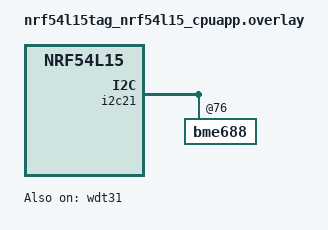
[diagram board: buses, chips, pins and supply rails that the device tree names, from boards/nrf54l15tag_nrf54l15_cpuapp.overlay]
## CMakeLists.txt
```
cmake_minimum_required(VERSION 3.20.0)

set(CMAKE_EXPORT_COMPILE_COMMANDS ON)

find_package(Zephyr HINTS $ENV{ZEPHYR_BASE})

project(blackout)

include(${ZEPHYR_CONNECTEDHOMEIP_MODULE_DIR}/config/nrfconnect/app/enable-gnu-std.cmake)

include(${ZEPHYR_NRF_MODULE_DIR}/samples/matter/common/cmake/source_common.cmake)

include(${ZEPHYR_NRF_MODULE_DIR}/samples/matter/common/cmake/data_model.cmake)

include(${ZEPHYR_NRF_MODULE_DIR}/samples/matter/common/cmake/zap_helpers.cmake)
ncs_get_zap_parent_dir(ZAP_PARENT_DIR)

target_include_directories(app PRIVATE
  src
  ${ZAP_PARENT_DIR}
)

target_sources(app PRIVATE
  src/app_task.cpp
  src/main.cpp
  src/zcl_callbacks.cpp
)

ncs_configure_data_model()
```

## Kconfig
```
mainmenu "Blackout Blinds Application"

choice OPENTHREAD_NORDIC_LIBRARY_CONFIGURATION
	default OPENTHREAD_NORDIC_LIBRARY_MTD
endchoice

choice OPENTHREAD_DEVICE_TYPE
	default OPENTHREAD_MTD
endchoice

config CHIP_ENABLE_ICD_SUPPORT
	default y

config CHIP_ICD_LIT_SUPPORT
	default y

config CHIP_ICD_SIT_SLOW_POLL_LIMIT
	default 5000

config CHIP_ICD_REPORT_ON_ACTIVE_MODE
	default y

# Reduce Thread TX output power to 0 dBm for SED device
config OPENTHREAD_DEFAULT_TX_POWER
	default 0

source "$(ZEPHYR_CONNECTEDHOMEIP_MODULE_DIR)/config/nrfconnect/chip-module/Kconfig.features"
source "$(ZEPHYR_CONNECTEDHOMEIP_MODULE_DIR)/config/nrfconnect/chip-module/Kconfig.defaults"
source "$(ZEPHYR_NRF_MODULE_DIR)/samples/matter/common/src/Kconfig"
source "Kconfig.zephyr"
```

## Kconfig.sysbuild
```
config NRF_DEFAULT_IPC_RADIO
	default y

config NETCORE_IPC_RADIO_IEEE802154
	default y if SOC_SERIES_NRF53

config NETCORE_IPC_RADIO_BT_HCI_IPC
	default y if SOC_SERIES_NRF53

choice BOOTLOADER
	default BOOTLOADER_MCUBOOT
endchoice

if BOOTLOADER_MCUBOOT

config DFU_MULTI_IMAGE_PACKAGE_BUILD
	default y

config DFU_MULTI_IMAGE_PACKAGE_APP
	default y

config PM_EXTERNAL_FLASH_MCUBOOT_SECONDARY
	default y

if SOC_SERIES_NRF53

config MCUBOOT_UPDATEABLE_IMAGES
	default 2

choice MCUBOOT_MODE
	default MCUBOOT_MODE_OVERWRITE_ONLY
endchoice

choice BOOT_SIGNATURE_TYPE
	default BOOT_SIGNATURE_TYPE_RSA
endchoice

config SECURE_BOOT_NETCORE
	default y

config NETCORE_APP_UPDATE
	default y

config DFU_MULTI_IMAGE_PACKAGE_NET
	default y

endif

if BOARD_NRF54L15DK || BOARD_NRF54LM20DK

config PM_OVERRIDE_EXTERNAL_DRIVER_CHECK
	default y

endif

if BOARD_NRF54L15TAG

config PM_OVERRIDE_EXTERNAL_DRIVER_CHECK
	default y

choice MCUBOOT_MODE
	default MCUBOOT_MODE_OVERWRITE_ONLY
endchoice

config MCUBOOT_COMPRESSED_IMAGE_SUPPORT
	default y

endif

endif

config MATTER_FACTORY_DATA_GENERATE
	default y

source "share/sysbuild/Kconfig"
```

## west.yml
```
manifest:
  self:
    path: application
  remotes:
    - name: nrf
      url-base: https://github.com/nrfconnect
  projects:
    - name: sdk-nrf
      remote: nrf
      path: nrf
      revision: v3.3.0
      import:
        path-prefix: external
      clone-depth: 1
```

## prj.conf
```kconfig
CONFIG_CHIP=y
CONFIG_CHIP_PROJECT_CONFIG="src/chip_project_config.h"
CONFIG_CHIP_DEVICE_PRODUCT_NAME="Blackout Blinds"

CONFIG_NCS_SAMPLE_MATTER_ZAP_FILE_PATH="${APPLICATION_CONFIG_DIR}/src/zap/blackout_blinds.zap"

CONFIG_CHIP_DEVICE_PRODUCT_ID=32781
CONFIG_STD_CPP17=y

CONFIG_CHIP_ENABLE_PAIRING_AUTOSTART=y

CONFIG_CHIP_BLE_EXT_ADVERTISING=y
CONFIG_CHIP_BLE_ADVERTISING_DURATION=60

CONFIG_DK_LIBRARY=y

CONFIG_BT_DEVICE_NAME="Blackout Blinds"
CONFIG_BT_DEVICE_NAME_MAX=18

CONFIG_PM_DEVICE=y

CONFIG_THREAD_NAME=y
CONFIG_MPU_STACK_GUARD=y
CONFIG_RESET_ON_FATAL_ERROR=n
CONFIG_CHIP_LIB_SHELL=y

CONFIG_USE_SEGGER_RTT=n

CONFIG_CHIP_FACTORY_DATA=y
CONFIG_CHIP_FACTORY_DATA_BUILD=y
```

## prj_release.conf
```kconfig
CONFIG_CHIP=y
CONFIG_CHIP_PROJECT_CONFIG="src/chip_project_config.h"
CONFIG_CHIP_DEVICE_PRODUCT_NAME="Blackout Blinds"

CONFIG_NCS_SAMPLE_MATTER_ZAP_FILE_PATH="${APPLICATION_CONFIG_DIR}/src/zap/blackout_blinds.zap"

CONFIG_CHIP_DEVICE_PRODUCT_ID=32781
CONFIG_STD_CPP17=y

CONFIG_CHIP_ENABLE_PAIRING_AUTOSTART=y

CONFIG_CHIP_BLE_EXT_ADVERTISING=y
CONFIG_CHIP_BLE_ADVERTISING_DURATION=60

CONFIG_DK_LIBRARY=y

CONFIG_RAM_POWER_DOWN_LIBRARY=y

CONFIG_BT_DEVICE_NAME="Blackout Blinds"
CONFIG_BT_DEVICE_NAME_MAX=18

CONFIG_PM_DEVICE=y

CONFIG_RESET_ON_FATAL_ERROR=y

CONFIG_USE_SEGGER_RTT=n
CONFIG_SHELL=n
CONFIG_OPENTHREAD_SHELL=n
CONFIG_CONSOLE=n
CONFIG_UART_CONSOLE=n
CONFIG_SERIAL=n
CONFIG_LOG=n
CONFIG_LOG_MODE_MINIMAL=n
CONFIG_ASSERT_VERBOSE=n
CONFIG_ASSERT_NO_FILE_INFO=y
CONFIG_PRINTK=n
CONFIG_PRINTK_SYNC=n
CONFIG_THREAD_NAME=n
CONFIG_BOOT_BANNER=n

CONFIG_CHIP_FACTORY_DATA=y
CONFIG_CHIP_FACTORY_DATA_BUILD=y

CONFIG_NCS_SAMPLE_MATTER_WATCHDOG=y

CONFIG_LTO=y
CONFIG_ISR_TABLES_LOCAL_DECLARATION=y
```

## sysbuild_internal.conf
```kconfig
SB_CONFIG_MATTER=y
SB_CONFIG_PM_OVERRIDE_EXTERNAL_DRIVER_CHECK=n
SB_CONFIG_PM_EXTERNAL_FLASH_MCUBOOT_SECONDARY=n

SB_CONFIG_MCUBOOT_MODE_OVERWRITE_ONLY=y
SB_CONFIG_MCUBOOT_COMPRESSED_IMAGE_SUPPORT=y
```

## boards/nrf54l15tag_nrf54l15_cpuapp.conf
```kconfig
CONFIG_USE_SEGGER_RTT=y
CONFIG_CONSOLE=y
CONFIG_RTT_CONSOLE=y
CONFIG_SEGGER_RTT_BUFFER_SIZE_UP=4096

CONFIG_I2C=y
CONFIG_SENSOR=y
CONFIG_BME680=y

CONFIG_CHIP_NFC_ONBOARDING_PAYLOAD=n

CONFIG_NCS_SAMPLE_MATTER_WATCHDOG=y

CONFIG_LTO=y
CONFIG_ISR_TABLES_LOCAL_DECLARATION=y

CONFIG_NCS_SAMPLE_MATTER_USE_DEFAULT_BUTTON_HANDLER=n
```

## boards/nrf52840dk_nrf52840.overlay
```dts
/ {
	chosen {
		nordic,pm-ext-flash = &mx25r64;
	};
};

&adc {
	status = "disabled";
};

&uart1 {
	status = "disabled";
};

&i2c0 {
	status = "disabled";
};

&pwm0 {
	status = "disabled";
};

&spi1 {
	status = "disabled";
};

&spi3 {
	status = "disabled";
};

&usbd {
	status = "disabled";
};
```

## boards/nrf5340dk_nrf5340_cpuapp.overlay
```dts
#include <zephyr/dt-bindings/ipc_service/static_vrings.h>

/ {
	chosen {
		nordic,pm-ext-flash = &mx25r64;
	};
};

&ipc0 {
	zephyr,priority = <0 PRIO_COOP>;
};

&adc {
	status = "disabled";
};

&i2c1 {
	status = "disabled";
};

&pwm0 {
	status = "disabled";
};

&spi2 {
	status = "disabled";
};

&usbd {
	status = "disabled";
};
```

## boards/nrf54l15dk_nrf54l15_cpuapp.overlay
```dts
/ {
	chosen {
		nordic,pm-ext-flash = &mx25r64;
	};

	aliases {
		watchdog0 = &wdt31;
	};
};

&cpuapp_rram {
	reg = <0x0 DT_SIZE_K(1524)>;
};

&cpuapp_sram {
	reg = <0x20000000 DT_SIZE_K(256)>;
	ranges = <0x0 0x20000000 0x40000>;
};

&mx25r64 {
	status = "okay";
};

&wdt31 {
	status = "okay";
};
```

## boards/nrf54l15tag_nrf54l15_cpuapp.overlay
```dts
/ {
	aliases {
		watchdog0 = &wdt31;
	};
};

&i2c21 {
	bme688@76 {
		status = "okay";
	};
};

&cpuapp_rram {
	reg = <0x0 DT_SIZE_K(1524)>;
};

&cpuapp_sram {
	reg = <0x20000000 DT_SIZE_K(256)>;
	ranges = <0x0 0x20000000 0x40000>;
};

&wdt31 {
	status = "okay";
};
```

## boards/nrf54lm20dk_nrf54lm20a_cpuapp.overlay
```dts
/ {
	chosen {
		nordic,pm-ext-flash = &mx25r64;
	};

	aliases {
		watchdog0 = &wdt31;
	};
};

&rram_controller {
	cpuapp_rram: rram@0 {
		reg = <0x0 DT_SIZE_K(2036)>;
		ranges = <0x0 0x0 DT_SIZE_K(2036)>;
	};
};

&mx25r64 {
	status = "okay";
};

&wdt31 {
	status = "okay";
};
```

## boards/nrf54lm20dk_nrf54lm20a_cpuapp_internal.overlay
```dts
/ {
	aliases {
		watchdog0 = &wdt31;
	};
};

&rram_controller {
	cpuapp_rram: rram@0 {
		reg = <0x0 DT_SIZE_K(2036)>;
		ranges = <0x0 0x0 DT_SIZE_K(2036)>;
	};
};

&mx25r64 {
	status = "disabled";
};

&wdt31 {
	status = "okay";
};
```

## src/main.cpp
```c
#include "app_task.h"

#include <zephyr/logging/log.h>

LOG_MODULE_REGISTER(app, CONFIG_CHIP_APP_LOG_LEVEL);

int main() {
  CHIP_ERROR err = AppTask::Instance().StartApp();

  LOG_ERR("Exited with code %" CHIP_ERROR_FORMAT, err.Format());
  return err == CHIP_NO_ERROR ? EXIT_SUCCESS : EXIT_FAILURE;
}
```

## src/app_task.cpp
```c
#include "app_task.h"

#include "app/matter_init.h"
#include "app/task_executor.h"
#include "board/board.h"
#include "clusters/identify.h"

#include <app/clusters/window-covering-server/window-covering-server.h>

#include <zephyr/logging/log.h>

LOG_MODULE_DECLARE(app, CONFIG_CHIP_APP_LOG_LEVEL);

using namespace ::chip;
using namespace ::chip::app;
using namespace ::chip::DeviceLayer;

namespace {
constexpr chip::EndpointId kWindowCoveringEndpointId = 1;

Nrf::Matter::IdentifyCluster sIdentifyCluster(kWindowCoveringEndpointId);

#ifdef CONFIG_CHIP_ICD_UAT_SUPPORT
#ifdef CONFIG_NCS_SAMPLE_MATTER_USE_DEFAULT_BUTTON_HANDLER
#define UAT_BUTTON_MASK DK_BTN3_MSK
#endif
#endif

#ifndef CONFIG_NCS_SAMPLE_MATTER_USE_DEFAULT_BUTTON_HANDLER
constexpr int kSoftwareUpdateTimeout = 1500;
constexpr int kUatTimeout = 1500;
constexpr int kFactoryResetTimeout = 3000;
constexpr int kUatBlinkPeriod = 200;
ButtonState sBtnState = ButtonState::None;
k_timer sBtn1Timer;
#endif

} /* namespace */

void HandleUAT() {
#ifdef CONFIG_CHIP_ICD_UAT_SUPPORT
  LOG_INF("ICD UserActiveMode has been triggered.");
  Server::GetInstance().GetICDManager().OnNetworkActivity();
#endif
}

void AppTask::ButtonEventHandler(Nrf::ButtonState state,
                                 Nrf::ButtonMask hasChanged) {
#ifdef CONFIG_NCS_SAMPLE_MATTER_USE_DEFAULT_BUTTON_HANDLER
  if (UAT_BUTTON_MASK & state & hasChanged) {
    HandleUAT();
  }
#else
  if (DK_BTN1_MSK & hasChanged) {
    if (DK_BTN1_MSK & state) {
      LOG_INF("Release the button within %ums to trigger Software Update",
              kSoftwareUpdateTimeout);
      k_timer_start(&sBtn1Timer, K_MSEC(kSoftwareUpdateTimeout), K_NO_WAIT);
      sBtnState = ButtonState::SoftwareUpdate;
    } else {
      if (sBtnState == ButtonState::SoftwareUpdate) {
#ifndef CONFIG_NCS_SAMPLE_MATTER_CUSTOM_BLUETOOTH_ADVERTISING
        if (Nrf::GetBoard().GetDeviceState() ==
            Nrf::DeviceState::DeviceProvisioned) {
#ifdef CONFIG_MCUMGR_TRANSPORT_BT
          GetDFUOverSMP().StartServer();
#else
          LOG_INF("Software update is disabled");
#endif
        } else {
          Nrf::GetBoard().StartBLEAdvertisement();
        }
#endif
      } else if (sBtnState == ButtonState::UAT) {
        HandleUAT();
      }
      k_timer_stop(&sBtn1Timer);
      sBtnState = ButtonState::None;
      Nrf::GetBoard().RestoreAllLedsState();
      Nrf::GetBoard().RunLedStateHandler();
    }
  }
#endif
}

#ifndef CONFIG_NCS_SAMPLE_MATTER_USE_DEFAULT_BUTTON_HANDLER
void ButtonTimerEventHandler() {
  if (sBtnState == ButtonState::SoftwareUpdate) {
    LOG_INF("Release the button within %ums to trigger UAT", kUatTimeout);
    k_timer_start(&sBtn1Timer, K_MSEC(kUatTimeout), K_NO_WAIT);
    sBtnState = ButtonState::UAT;

    Nrf::GetBoard().ResetAllLeds();
    Nrf::GetBoard().ForEachLED(
        [](Nrf::LEDWidget &led) { led.Blink(kUatBlinkPeriod); });
  } else if (sBtnState == ButtonState::UAT) {
    LOG_INF("Factory reset has been triggered. Release button within %ums to "
            "cancel.",
            kFactoryResetTimeout);

    k_timer_start(&sBtn1Timer, K_MSEC(kFactoryResetTimeout), K_NO_WAIT);
    sBtnState = ButtonState::None;

    Nrf::GetBoard().ForEachLED(
        [](Nrf::LEDWidget &led) { led.Blink(Nrf::LedConsts::kBlinkRate_ms); });
  } else if (sBtnState == ButtonState::None) {
    chip::Server::GetInstance().ScheduleFactoryReset();
  }
}

void ButtonTimerTimeoutCallback(k_timer *timer) {
  Nrf::PostTask([] { ButtonTimerEventHandler(); });
}

#endif

CHIP_ERROR AppTask::Init() {
  ReturnErrorOnFailure(Nrf::Matter::PrepareServer());

  if (!Nrf::GetBoard().Init(ButtonEventHandler)) {
    LOG_ERR("User interface initialization failed.");
    return CHIP_ERROR_INCORRECT_STATE;
  }

  ReturnErrorOnFailure(Nrf::Matter::RegisterEventHandler(
      Nrf::Board::DefaultMatterEventHandler, 0));

  ReturnErrorOnFailure(sIdentifyCluster.Init());

  return Nrf::Matter::StartServer();
}

CHIP_ERROR AppTask::StartApp() {
  ReturnErrorOnFailure(Init());

#ifndef CONFIG_NCS_SAMPLE_MATTER_USE_DEFAULT_BUTTON_HANDLER
  k_timer_init(&sBtn1Timer, &ButtonTimerTimeoutCallback, nullptr);
#endif

  while (true) {
    Nrf::DispatchNextTask();
  }

  return CHIP_NO_ERROR;
}
```

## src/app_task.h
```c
#pragma once

#include "board/board.h"

#include <platform/CHIPDeviceLayer.h>

struct Identify;

#ifndef CONFIG_NCS_SAMPLE_MATTER_USE_DEFAULT_BUTTON_HANDLER
enum class ButtonState { None, SoftwareUpdate, UAT };
#endif

class AppTask {
public:
  static AppTask &Instance() {
    static AppTask sAppTask;
    return sAppTask;
  };

  CHIP_ERROR StartApp();

private:
  CHIP_ERROR Init();

  static void ButtonEventHandler(Nrf::ButtonState state,
                                 Nrf::ButtonMask hasChanged);
};
```

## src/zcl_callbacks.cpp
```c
#include <app-common/zap-generated/attributes/Accessors.h>
#include <app-common/zap-generated/callback.h>
#include <app-common/zap-generated/ids/Attributes.h>
#include <app-common/zap-generated/ids/Clusters.h>
#include <app/ConcreteAttributePath.h>
#include <app/clusters/window-covering-server/window-covering-delegate.h>
#include <app/clusters/window-covering-server/window-covering-server.h>

#include <zephyr/logging/log.h>

LOG_MODULE_DECLARE(app, CONFIG_CHIP_APP_LOG_LEVEL);

using namespace ::chip;
using namespace ::chip::app::Clusters;
using namespace ::chip::app::Clusters::WindowCovering;

namespace {
constexpr EndpointId kWindowCoveringEndpointId = 1;

class BlackoutDelegate : public Delegate {
public:
  CHIP_ERROR HandleMovement(WindowCoveringType type) override {
    switch (type) {
    case WindowCoveringType::Lift:
      LOG_INF("Window covering move: lift");
      break;
    case WindowCoveringType::Tilt:
      LOG_INF("Window covering move: tilt");
      break;
    default:
      break;
    }
    return CHIP_NO_ERROR;
  }

  CHIP_ERROR HandleStopMotion() override {
    LOG_INF("Window covering stop");
    return CHIP_NO_ERROR;
  }
};

BlackoutDelegate sDelegate;
} // namespace

void MatterPostAttributeChangeCallback(
    const app::ConcreteAttributePath &attributePath, uint8_t type,
    uint16_t size, uint8_t *value) {
  switch (attributePath.mClusterId) {
  case Identify::Id:
    break;
  case WindowCovering::Id:
    LOG_DBG("Window covering attribute " ChipLogFormatMEI " changed",
            ChipLogValueMEI(attributePath.mAttributeId));
    break;
  default:
    break;
  }
}

void MatterWindowCoveringClusterServerAttributeChangedCallback(
    const app::ConcreteAttributePath &attributePath) {
  if (attributePath.mEndpointId == kWindowCoveringEndpointId) {
    PostAttributeChange(attributePath.mEndpointId, attributePath.mAttributeId);
  }
}

void emberAfWindowCoveringClusterInitCallback(EndpointId endpoint) {
  if (endpoint == kWindowCoveringEndpointId) {
    SetDefaultDelegate(endpoint, &sDelegate);
    LOG_INF("Window covering cluster initialized on endpoint %u", endpoint);
  }
}
```
